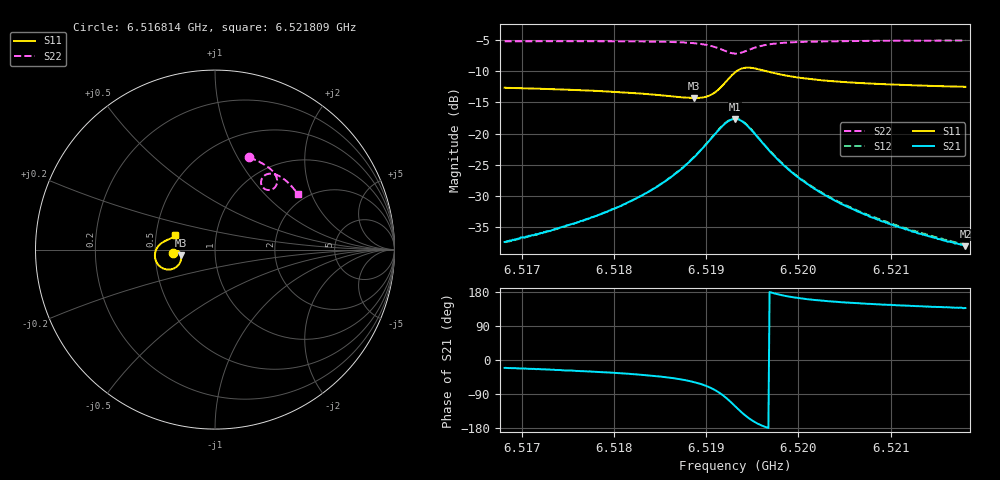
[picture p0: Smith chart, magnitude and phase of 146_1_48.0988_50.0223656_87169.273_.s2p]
#  HZ  S  RI  R  50.00
! Rohde & Schwarz Vector Network Analyzer
! Rohde-Schwarz,ZNB20-2Port,1311601062101988,3.16
! Created: UTC 12/23/2023, 3:49:16 AM
! freq[Hz]  re:S11  im:S11  re:S21  im:S21  re:S12  im:S12  re:S22  im:S22
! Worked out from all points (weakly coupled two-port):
!   401 points, 6.516814 GHz to 6.521809 GHz, reference 50 ohm
!   highest |S21| = -17.65 dB at 6.519312 GHz (marker M1); lowest = -38.0 dB at 6.521809 GHz (marker M2)
!   lowest |S11| = -14.3 dB at 6.518862 GHz (marker M3), VSWR 1.48, Z = 34 - j2.31 ohm
!   |S11| at or under -10 dB: start of sweep to 6.51933 GHz; 6.519648 GHz to end of sweep
!   |S22| runs from -7.2 to -5.1 dB; largest |S21 - S12| = 0.004
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6.516814e9  -0.2317 -0.0206  0.0127 -0.00482  0.0128 -0.00431  0.19 0.5139
6.5173135e9  -0.2265 -0.0131  0.015 -0.0072  0.0152 -0.0066  0.2271 0.4992
6.5176507e9  -0.2219 -0.00889  0.0174 -0.00978  0.0177 -0.00927  0.252 0.4872
6.5180753e9  -0.2141 -0.00622  0.0215 -0.0151  0.022 -0.0144  0.2838 0.4683
6.5182876e9  -0.2088 -0.00668  0.0245 -0.0197  0.0252 -0.019  0.3001 0.4566
6.5184874e9  -0.2029 -0.00975  0.0281 -0.0263  0.0288 -0.0255  0.3155 0.4433
6.5186747e9  -0.1961 -0.0169  0.0316 -0.0364  0.033 -0.0355  0.33 0.4269
6.5188621e9  -0.1895 -0.0327  0.0339 -0.0543  0.0358 -0.0535  0.3427 0.4033
6.5189869e9  -0.1888 -0.0527  0.0309 -0.0739  0.0335 -0.0734  0.3466 0.3807
6.5190744e9  -0.1955 -0.0731  0.022 -0.0925  0.0248 -0.0925  0.3425 0.361
6.5192117e9  -0.2358 -0.1075  -0.0194 -0.12  -0.0161 -0.1215  0.312 0.3331
6.5193116e9  -0.2907 -0.1042  -0.0687 -0.1116  -0.0659 -0.1144  0.2746 0.3395
6.5193616e9  -0.3146 -0.0865  -0.088 -0.0938  -0.0859 -0.0969  0.2614 0.3546
6.519424e9  -0.3315 -0.0565  -0.0997 -0.0659  -0.0986 -0.0691  0.2565 0.3773
6.5195364e9  -0.3308 -0.00838  -0.0941 -0.0249  -0.0941 -0.0278  0.2706 0.4082
6.5196363e9  -0.3173 0.0175  -0.0795 -0.0051  -0.0801 -0.00742  0.2905 0.4203
6.5198986e9  -0.2849 0.0447  -0.0497 0.0113  -0.0506 0.00987  0.3328 0.4204
6.5201484e9  -0.2666 0.0534  -0.0347 0.0133  -0.0355 0.0124  0.36 0.4089
6.520523e9  -0.2504 0.0607  -0.0228 0.0124  -0.0237 0.0118  0.39 0.3882
6.5209851e9  -0.2379 0.0675  -0.0156 0.0107  -0.0161 0.0105  0.4194 0.3609
6.5214971e9  -0.228 0.0747  -0.0111 0.00937  -0.0116 0.00909  0.4467 0.3299
6.5218093e9  -0.223 0.079  -0.0092 0.00851  -0.00973 0.00853  0.4614 0.3104
